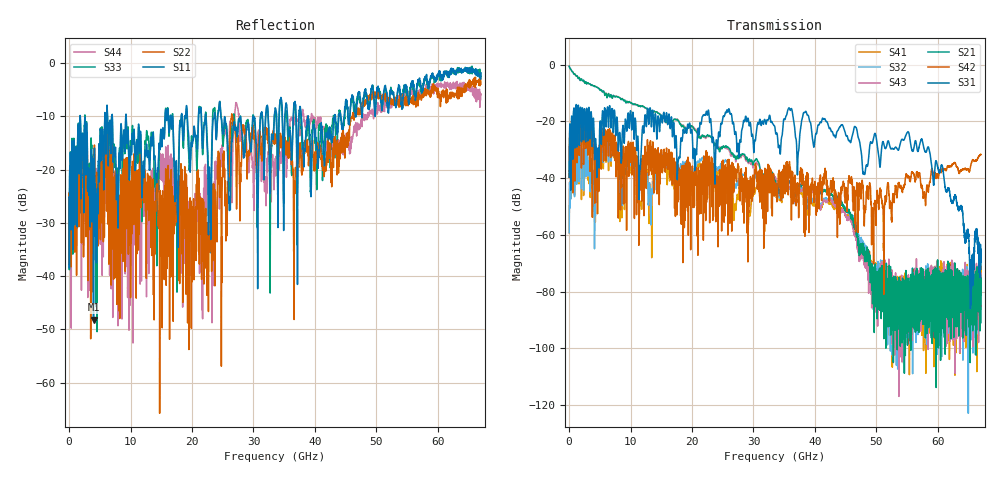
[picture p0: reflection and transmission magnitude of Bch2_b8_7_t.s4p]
!Agilent Technologies,N5247A,US51170199,A.09.90.13
!Agilent N5247A: A.09.90.13
!Date: Tuesday, October 23, 2018 10:19:48
!Correction: S11(Full 4 Port(1,2,3,4))
!S12(Full 4 Port(1,2,3,4))
!S13(Full 4 Port(1,2,3,4))
!S14(Full 4 Port(1,2,3,4))
!S21(Full 4 Port(1,2,3,4))
!S22(Full 4 Port(1,2,3,4))
!S23(Full 4 Port(1,2,3,4))
!S24(Full 4 Port(1,2,3,4))
!S31(Full 4 Port(1,2,3,4))
!S32(Full 4 Port(1,2,3,4))
!S33(Full 4 Port(1,2,3,4))
!S34(Full 4 Port(1,2,3,4))
!S41(Full 4 Port(1,2,3,4))
!S42(Full 4 Port(1,2,3,4))
!S43(Full 4 Port(1,2,3,4))
!S44(Full 4 Port(1,2,3,4))
!S4P File: Measurements: <S11,S12,S13,S14>,
!<S21,S22,S23,S24>,
!<S31,S32,S33,S34>,
!<S41,S42,S43,S44>:
# Hz S  dB  R 50
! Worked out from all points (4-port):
!   6701 points, 10 MHz to 67 GHz, reference 50 ohm
!   strongest paths, dB at 10 MHz, 16.76 GHz, 33.51 GHz, 50.25 GHz, 67 GHz:
!     S31: -39.6, -22.6, -22.3, -30.0, -65.8
!     S42: -39.8, -33.0, -43.1, -46.4, -31.6
!     S21: -0.5, -19.9, -40.9, -79.1, -75.4
!     S43: -0.5, -20.3, -39.7, -78.4, -75.2
!     S32: -59.2, -36.8, -43.0, -69.4, -81.0
!     S41: -59.3, -42.1, -45.3, -75.9, -85.0
!   lowest |S11| = -48.2 dB at 3.979 GHz (marker M1), VSWR 1.01, Z = 50.3 + j0.22 ohm
!   |S11| at or under -10 dB: 9.299 GHz to 15.63 GHz (6.334 GHz wide, 50.8 % of centre); 24.69 GHz to 29.96 GHz (5.268 GHz wide, 19.3 % of centre); 38.9 GHz to 43.22 GHz (4.311 GHz wide, 10.5 % of centre)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
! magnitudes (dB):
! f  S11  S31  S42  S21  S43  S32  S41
! 10 MHz  -25.2  -39.6  -39.8  -0.5  -0.5  -59.2  -59.3
! 1.63 GHz  -19.2  -23.1  -28.0  -4.5  -4.5  -41.3  -42.0
! 3.979 GHz  -48.2  -19.1  -25.1  -7.5  -7.5  -37.7  -37.7
! 6.019 GHz  -16.6  -21.9  -33.3  -10.1  -10.0  -32.5  -33.9
! 32.92 GHz  -13.9  -20.1  -40.9  -37.8  -38.1  -38.6  -41.0
! 55.08 GHz  -5.6  -23.7  -39.7  -89.9  -86.9  -87.7  -82.5
! 67 GHz  -1.9  -65.8  -31.6  -75.4  -75.2  -81.0  -85.0
